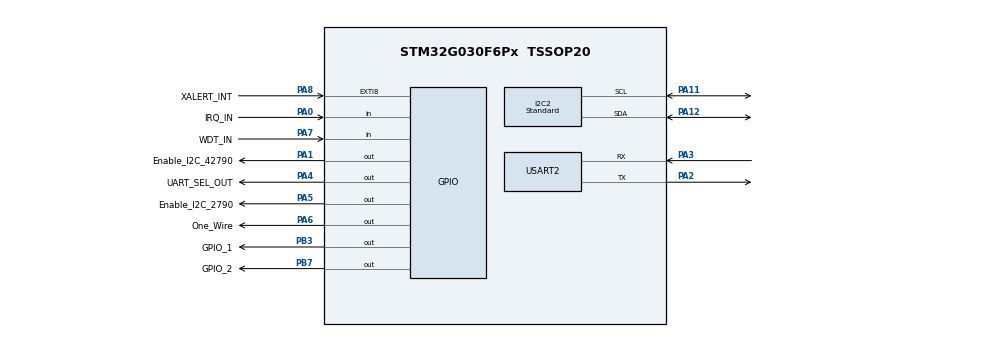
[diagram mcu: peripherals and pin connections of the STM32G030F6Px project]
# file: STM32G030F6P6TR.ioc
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I2C2.I2C_Speed_Mode=I2C_Standard
I2C2.Timing=0x00201D2B
Mcu.Family=STM32G0
Mcu.Name=STM32G030F6Px
Mcu.Package=TSSOP20
NVIC.EXTI4_15_IRQn=true\:0\:0\:false\:false\:true\:true\:true\:true
PA0.GPIO_Label=IRQ_IN
PA0.Signal=GPIO_Input
PA1.GPIO_Label=Enable_I2C_42790
PA1.GPIO_Speed=GPIO_SPEED_FREQ_HIGH
PA1.PinState=GPIO_PIN_SET
PA1.Signal=GPIO_Output
PA11\ [PA9].Mode=I2C
PA11\ [PA9].Signal=I2C2_SCL
PA12\ [PA10].Mode=I2C
PA12\ [PA10].Signal=I2C2_SDA
PA13.Mode=Serial_Wire
PA13.Signal=SYS_SWDIO
PA14-BOOT0.Mode=Serial_Wire
PA14-BOOT0.Signal=SYS_SWCLK
PA14-BOOT0__PA15.StandardMode=true
PA2.Mode=Asynchronous
PA2.Signal=USART2_TX
PA3.Mode=Asynchronous
PA3.Signal=USART2_RX
PA4.GPIO_Label=UART_SEL_OUT
PA4.GPIO_Speed=GPIO_SPEED_FREQ_HIGH
PA4.PinState=GPIO_PIN_SET
PA4.Signal=GPIO_Output
PA5.GPIO_Label=Enable_I2C_2790
PA5.Signal=GPIO_Output
PA6.GPIO_Label=One_Wire
PA6.GPIO_Speed=GPIO_SPEED_FREQ_HIGH
PA6.PinState=GPIO_PIN_SET
PA6.Signal=GPIO_Output
PA7.GPIO_Label=WDT_IN
PA7.Signal=GPIO_Input
PA8.GPIO_Label=XALERT_INT
PA8.GPIO_ModeDefaultEXTI=GPIO_MODE_IT_RISING
PA8.Signal=GPXTI8
PB0__PB1__PB2__PA8.StandardMode=true
PB3.GPIO_Label=GPIO_1
PB3.GPIO_PuPd=GPIO_NOPULL
PB3.Signal=GPIO_Output
PB3__PB4__PB5__PB6.StandardMode=true
PB7.GPIO_FM7=__NULL
PB7.GPIO_Label=GPIO_2
PB7.GPIO_PuPd=GPIO_NOPULL
PB7.Signal=GPIO_Output
PB7__PB8.StandardMode=true
PC14-OSC32_IN\ (PC14).Mode=HSE-External-Clock-Source
PC14-OSC32_IN\ (PC14).Signal=RCC_OSC_IN
PC14-OSC32_IN\ (PC14)__PB9.StandardMode=true
PC15-OSC32_OUT\ (PC15).Mode=OSC enable
PC15-OSC32_OUT\ (PC15).Signal=RCC_OSC_EN
ProjectManager.HeapSize=0x500
ProjectManager.StackSize=0x1000
ProjectManager.TargetToolchain=STM32CubeIDE
RCC.ADCFreq_Value=16000000
RCC.AHBFreq_Value=16000000
RCC.APB1CLKDivider=RCC_HCLK_DIV2
RCC.CortexFreq_Value=16000000
RCC.EXTERNAL_CLOCK_VALUE=12288000
RCC.HCLKFreq_Value=16000000
RCC.HSE_VALUE=8000000
RCC.HSI_VALUE=16000000
RCC.LSE_VALUE=32768
RCC.PLLR=RCC_PLLR_DIV4
RCC.SYSCLKFreq_VALUE=16000000
RCC.VCOOutputFreq_Value=128000000
USART2.SwapParam=ADVFEATURE_SWAP_ENABLE
USART2.VirtualMode-Asynchronous=VM_ASYNC
board=custom

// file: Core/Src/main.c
/* USER CODE BEGIN Header */
/**
  ******************************************************************************
  * @file           : main.c
  * @brief          : Main program body
  ******************************************************************************
  * @attention
  *
  * Copyright (c) 2025 STMicroelectronics.
  * All rights reserved.
  *
  * This software is licensed under terms that can be found in the LICENSE file
  * in the root directory of this software component.
  * If no LICENSE file comes with this software, it is provided AS-IS.
  *
  ******************************************************************************
  */
/* USER CODE END Header */
#include "main.h"
#include "i2c.h"
#include "usart.h"
#include "gpio.h"

/* USER CODE BEGIN Includes */
#include <assert.h>
#include <stdio.h>
#include <stdlib.h>
#include <time.h>
/* USER CODE END Includes */

/* USER CODE BEGIN PV */
#define CRC_TABLE_SIZE 256
uint8_t _CRC8Table[CRC_TABLE_SIZE];
uint32_t _poly_width = 8;

/* USER CODE END PV */

void SystemClock_Config(void);

/* USER CODE BEGIN 0 */

void HAL_GPIO_EXTI_Callback(uint16_t GPIO_Pin)
{
  if(GPIO_Pin == XALERT_INT_Pin)
  {
    printf("\r\n========== xALERT ===========\r\n");
  } else
  {
      printf("\r\nEXTI ERROR\r\n");
  }
}

/* USER CODE END 0 */

int main(void)
{

  /* USER CODE BEGIN 1 */
// CRC   https://www.sunshine2k.de/articles/coding/crc/understanding_crc.html
    SEGGER_RTT_Init();
    SEGGER_RTT_printf(0, "SEGGER RTT Initialized\n");
  /* USER CODE END 1 */

  /* MCU Configuration--------------------------------------------------------*/

  /* Reset of all peripherals, Initializes the Flash interface and the Systick. */
  HAL_Init();

  /* Configure the system clock */
  SystemClock_Config();

  /* Initialize all configured peripherals */
  MX_GPIO_Init();
  MX_USART2_UART_Init();
  MX_I2C2_Init();
  /* USER CODE BEGIN 2 */

//    HAL_GPIO_WritePin(GPIOA, Enable_I2sC_2790_Pin, GPIO_PIN_RESET);
    HAL_GPIO_WritePin(GPIOA, UART_SEL_OUT_Pin, GPIO_PIN_SET);
//    HAL_GPIO_WritePin(GPIOA, Enable_I2C_42790_Pin, GPIO_PIN_SET);
    HAL_GPIO_WritePin(GPIOA, Enable_I2C_2790_Pin, GPIO_PIN_SET);

  /* USER CODE END 2 */

  /* Infinite loop */
  /* USER CODE BEGIN WHILE */
#if 0
Пишутся регистры 4000 4001 4002 4100
Для записи групп Fuel Gauge Settings Fuel Gauge Model
(0x1000 - 0x1806) (0x2000 - 0x2043) подать команду CONFIG_MODE_CMD();

#endif
//    simpleTestI2C_EEPROM(0x10);

//    init_2790();
//    get_self_U();
    init_42790();
//    read_2790_REGS();
    read_42790_REGS();

  while (1)
  {
      HAL_Delay(10000);
      read_Temp();
      read_U_I();

    /* USER CODE END WHILE */

  }
}

void SystemClock_Config(void)
{
  /* HSI configuration and activation */
  LL_RCC_HSI_Enable();
  while(LL_RCC_HSI_IsReady() != 1)
  {
  }

  /* Set AHB prescaler*/
  LL_RCC_SetAHBPrescaler(LL_RCC_SYSCLK_DIV_1);

  /* Sysclk activation on the HSI */
  LL_RCC_SetSysClkSource(LL_RCC_SYS_CLKSOURCE_HSI);
  while(LL_RCC_GetSysClkSource() != LL_RCC_SYS_CLKSOURCE_STATUS_HSI)
  {
  }

  /* Set APB1 prescaler*/
  LL_RCC_SetAPB1Prescaler(LL_RCC_APB1_DIV_2);
  /* Update CMSIS variable (which can be updated also through SystemCoreClockUpdate function) */
  LL_SetSystemCoreClock(16000000);

   /* Update the time base */
  if (HAL_InitTick (TICK_INT_PRIORITY) != HAL_OK)
  {
    Error_Handler();
  }
}

/* USER CODE BEGIN 4 */

const char *bit_rep[16] =
{
    [ 0] = "0000", [ 1] = "0001", [ 2] = "0010", [ 3] = "0011",
    [ 4] = "0100", [ 5] = "0101", [ 6] = "0110", [ 7] = "0111",
    [ 8] = "1000", [ 9] = "1001", [10] = "1010", [11] = "1011",
    [12] = "1100", [13] = "1101", [14] = "1110", [15] = "1111",
};
void print_byte(uint8_t byte)
{
    printf("%s%s", bit_rep[byte >> 4], bit_rep[byte & 0x0F]);
}
void simpleTestI2C_EEPROM(uint16_t addr)
{
// Пишет по 8 байт в адреса кратные 8 Читать может больше
    uint16_t num = 8;
    printf("Simple test I2C_EEPROM ...\r\n");

    uint8_t rd_value[20] = {0};
//    uint8_t wr_value[20] = {'1','2','3','4','5','6','7','8'};
    uint8_t wr_value[20] = {'=','=','=','1','2','=','=','='};

    while (HAL_I2C_GetState(&hi2c2) != HAL_I2C_STATE_READY);
    HAL_I2C_Mem_Read(&hi2c2, EEPROM_I2C_ADDRESS, addr, I2C_MEMADD_SIZE_8BIT, rd_value, num, HAL_MAX_DELAY);
    printf("EEPROM read: %s\r\n",rd_value);

    while (HAL_I2C_GetState(&hi2c2) != HAL_I2C_STATE_READY);
    HAL_I2C_Mem_Write(&hi2c2, EEPROM_I2C_ADDRESS, addr, I2C_MEMADD_SIZE_8BIT, wr_value, num, HAL_MAX_DELAY);
    printf("EEPROM write: %s\r\n", wr_value);

    while (HAL_I2C_GetState(&hi2c2) != HAL_I2C_STATE_READY);
    HAL_I2C_Mem_Read(&hi2c2, EEPROM_I2C_ADDRESS, addr, I2C_MEMADD_SIZE_8BIT, rd_value, num, HAL_MAX_DELAY);
    printf("EEPROM read: %s\r\n",rd_value);
}
uint32_t crc32 (uint16_t Reg_Address, uint8_t len, uint8_t *data)
{
    short i;
    uint32_t crc = 0xFFFFFFFF;
    unsigned char dataTemp[4];
    for (i=-1; i<len; i++)
    {
        if(i==-1)
        {
            dataTemp[0]=len;
            dataTemp[1]=Reg_Address&0x00FF;
            dataTemp[2]=(Reg_Address&0xFF00)>>8;
            dataTemp[3]=0;
        }
        else
        {
            dataTemp[i%4]=data[i];
        }
        if((i%4)==3 || i == len-1 || i == -1)
        {
            for (char j=0; j<4; j++)
            {
                crc ^= dataTemp[3-j] << 24;
                for (char k = 0; k < 8; ++k)
                {
                    if ((crc & 0x80000000) != 0)
                    {
                        crc = (crc << 1) ^ 0x04C11DB7;
                    }
                    else
                    {
                        crc <<= 1;
                    }
                }
            }
            dataTemp[0]=0;
            dataTemp[1]=0;
            dataTemp[2]=0;
            dataTemp[3]=0;
        }
    }
    return crc;
}
void init_crc_calculation()
{
    uint8_t poly = 0x31;
    const uint32_t bits_mask = (1 << _poly_width) - 1;
    const uint32_t top_bit = 1 << (_poly_width - 1);
    uint32_t index;
    for (index = 0; index < CRC_TABLE_SIZE; ++index)
    {
        uint32_t value = index << (_poly_width - 8);
        uint32_t bit_index;
        for (bit_index = 0; bit_index < 8; ++bit_index)
        {
            if (value & top_bit)
            {
                value = (value << 1) ^ poly;
            }
            else
            {
                value = value << 1;
            }
            value &= bits_mask;
        }//END for (bit_index = 0; bit_index < 8; ++bit_index)
        _CRC8Table[index] = value;
    }//END for (index = 0; index < CRC_TABLE_SIZE; ++index)
}
uint8_t crc_calc(uint8_t *data, uint8_t size)
{
    uint8_t init_value = 0xFF;
    uint8_t crc = init_value;
    while (size--)
    {
        crc = _CRC8Table[crc ^ *data++];
    }
    return crc;
}
void generateRandomString(char *str, int length)
{
    const char charset[] = "abcdefghijklmnopqrstuvwxyzABCDEFGHIJKLMNOPQRSTUVWXYZ0123456789";
    int charset_size = strlen(charset);
    if (length <= 0)
    {
        str[0] = '\0'; // Empty string for length 0 or less
        return;
    }
    for (int i = 0; i < length; i++)
    {
        str[i] = charset[rand() % charset_size];
    }
    str[length] = '\0'; // Null-terminate the string
}
void Printf(const char* fmt, ...)
{
    HAL_GPIO_WritePin(GPIOA, UART_SEL_OUT_Pin, GPIO_PIN_SET);
    char buff[512];
    va_list args;
    va_start(args, fmt);
    vsnprintf(buff, sizeof(buff), fmt, args);
    HAL_UART_Transmit(&huart2, (uint8_t*)buff, strlen(buff), HAL_MAX_DELAY );
    va_end(args);
    HAL_GPIO_WritePin(GPIOA, UART_SEL_OUT_Pin, GPIO_PIN_RESET);
}
int _write(int fd, char *str, int len)
{
    HAL_GPIO_WritePin(GPIOA, UART_SEL_OUT_Pin, GPIO_PIN_SET);
    for(int i=0; i<len; i++)
    {
        HAL_UART_Transmit(&huart2, (uint8_t *)&str[i], 1, 0xFFFF);
        SEGGER_RTT_PutChar(0, str[i]);
    }
    HAL_GPIO_WritePin(GPIOA, UART_SEL_OUT_Pin, GPIO_PIN_RESET);
    return len;
}

/* USER CODE END 4 */

void Error_Handler(void)
{
  __disable_irq();
  while (1)
  {
  }
}
